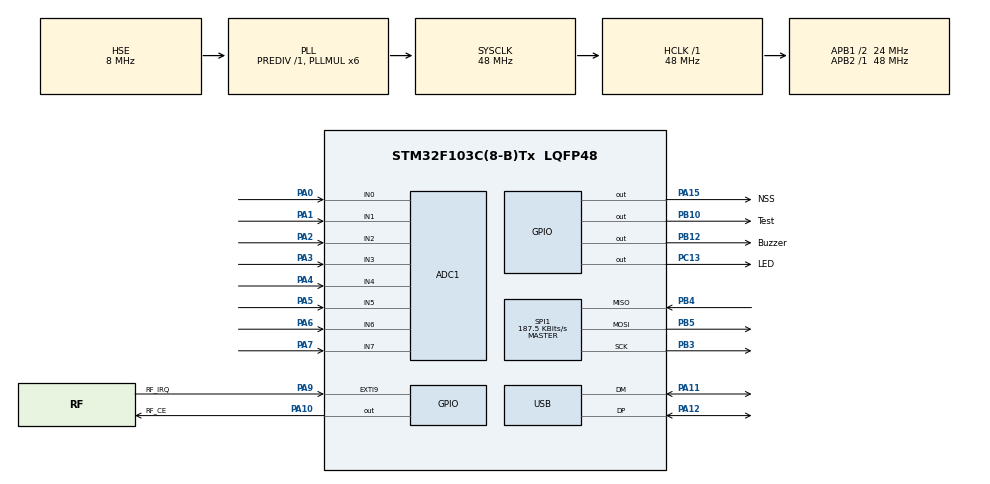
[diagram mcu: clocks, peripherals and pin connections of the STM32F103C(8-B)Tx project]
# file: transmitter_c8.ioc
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ADC1.Channel-0\#ChannelRegularConversion=ADC_CHANNEL_0
ADC1.Channel-1\#ChannelRegularConversion=ADC_CHANNEL_1
ADC1.Channel-2\#ChannelRegularConversion=ADC_CHANNEL_2
ADC1.Channel-3\#ChannelRegularConversion=ADC_CHANNEL_3
ADC1.Channel-4\#ChannelRegularConversion=ADC_CHANNEL_4
ADC1.Channel-5\#ChannelRegularConversion=ADC_CHANNEL_5
ADC1.Channel-6\#ChannelRegularConversion=ADC_CHANNEL_6
ADC1.Channel-7\#ChannelRegularConversion=ADC_CHANNEL_7
ADC1.DiscontinuousConvMode=ENABLE
ADC1.ExternalTrigConv=ADC_EXTERNALTRIGCONV_T3_TRGO
ADC1.NbrOfConversion=8
ADC1.NbrOfConversionFlag=1
ADC1.NbrOfDiscConversion=8
ADC1.Rank-0\#ChannelRegularConversion=1
ADC1.Rank-1\#ChannelRegularConversion=2
ADC1.Rank-2\#ChannelRegularConversion=3
ADC1.Rank-3\#ChannelRegularConversion=4
ADC1.Rank-4\#ChannelRegularConversion=5
ADC1.Rank-5\#ChannelRegularConversion=6
ADC1.Rank-6\#ChannelRegularConversion=7
ADC1.Rank-7\#ChannelRegularConversion=8
ADC1.SamplingTime-0\#ChannelRegularConversion=ADC_SAMPLETIME_1CYCLE_5
ADC1.SamplingTime-1\#ChannelRegularConversion=ADC_SAMPLETIME_1CYCLE_5
ADC1.SamplingTime-2\#ChannelRegularConversion=ADC_SAMPLETIME_1CYCLE_5
ADC1.SamplingTime-3\#ChannelRegularConversion=ADC_SAMPLETIME_1CYCLE_5
ADC1.SamplingTime-4\#ChannelRegularConversion=ADC_SAMPLETIME_1CYCLE_5
ADC1.SamplingTime-5\#ChannelRegularConversion=ADC_SAMPLETIME_1CYCLE_5
ADC1.SamplingTime-6\#ChannelRegularConversion=ADC_SAMPLETIME_1CYCLE_5
ADC1.SamplingTime-7\#ChannelRegularConversion=ADC_SAMPLETIME_1CYCLE_5
ADC1.master=1
Dma.ADC1.0.Direction=DMA_PERIPH_TO_MEMORY
Dma.ADC1.0.Instance=DMA1_Channel1
Dma.ADC1.0.MemDataAlignment=DMA_MDATAALIGN_HALFWORD
Dma.ADC1.0.MemInc=DMA_MINC_ENABLE
Dma.ADC1.0.Mode=DMA_CIRCULAR
Dma.ADC1.0.PeriphDataAlignment=DMA_PDATAALIGN_HALFWORD
Dma.ADC1.0.PeriphInc=DMA_PINC_DISABLE
Dma.ADC1.0.Priority=DMA_PRIORITY_LOW
Dma.Request0=ADC1
Mcu.Family=STM32F1
Mcu.Name=STM32F103C(8-B)Tx
Mcu.Package=LQFP48
NVIC.DMA1_Channel1_IRQn=true\:0\:0\:false\:false\:true\:false\:true\:true
NVIC.EXTI9_5_IRQn=true\:0\:0\:false\:false\:true\:true\:true\:true
NVIC.PriorityGroup=NVIC_PRIORITYGROUP_4
NVIC.TIM4_IRQn=true\:0\:0\:false\:false\:true\:true\:true\:true
NVIC.USB_LP_CAN1_RX0_IRQn=true\:0\:0\:false\:false\:true\:false\:true\:true
PA0-WKUP.Signal=ADCx_IN0
PA1.Signal=ADCx_IN1
PA10.GPIO_Label=RF_CE
PA10.Signal=GPIO_Output
PA11.Mode=Device
PA11.Signal=USB_DM
PA12.Mode=Device
PA12.Signal=USB_DP
PA13.Mode=Serial_Wire
PA13.Signal=SYS_JTMS-SWDIO
PA14.Mode=Serial_Wire
PA14.Signal=SYS_JTCK-SWCLK
PA15.GPIO_Label=NSS
PA15.PinState=GPIO_PIN_SET
PA15.Signal=GPIO_Output
PA2.Signal=ADCx_IN2
PA3.Signal=ADCx_IN3
PA4.Signal=ADCx_IN4
PA5.Signal=ADCx_IN5
PA6.Signal=ADCx_IN6
PA7.Signal=ADCx_IN7
PA9.GPIO_Label=RF_IRQ
PA9.GPIO_ModeDefaultEXTI=GPIO_MODE_IT_FALLING
PA9.Signal=GPXTI9
PB10.GPIO_Label=Test
PB10.Signal=GPIO_Output
PB12.GPIO_Label=Buzzer
PB12.Signal=GPIO_Output
PB3.Mode=Full_Duplex_Master
PB3.Signal=SPI1_SCK
PB4.Mode=Full_Duplex_Master
PB4.Signal=SPI1_MISO
PB5.Mode=Full_Duplex_Master
PB5.Signal=SPI1_MOSI
PC13-TAMPER-RTC.GPIO_Label=LED
PC13-TAMPER-RTC.Signal=GPIO_Output
PC14-OSC32_IN.Mode=LSE-External-Oscillator
PC14-OSC32_IN.Signal=RCC_OSC32_IN
PC15-OSC32_OUT.Mode=LSE-External-Oscillator
PC15-OSC32_OUT.Signal=RCC_OSC32_OUT
PD0-OSC_IN.Mode=HSE-External-Oscillator
PD0-OSC_IN.Signal=RCC_OSC_IN
PD1-OSC_OUT.Mode=HSE-External-Oscillator
PD1-OSC_OUT.Signal=RCC_OSC_OUT
ProjectManager.HeapSize=0x200
ProjectManager.StackSize=0x400
ProjectManager.TargetToolchain=STM32CubeIDE
RCC.ADCPresc=RCC_ADCPCLK2_DIV4
RCC.AHBFreq_Value=48000000
RCC.APB1CLKDivider=RCC_HCLK_DIV2
RCC.APB1Freq_Value=24000000
RCC.APB1TimFreq_Value=48000000
RCC.APB2Freq_Value=48000000
RCC.APB2TimFreq_Value=48000000
RCC.HCLKFreq_Value=48000000
RCC.PLLMUL=RCC_PLL_MUL6
RCC.PLLSourceVirtual=RCC_PLLSOURCE_HSE
RCC.SYSCLKFreq_VALUE=48000000
RCC.SYSCLKSource=RCC_SYSCLKSOURCE_PLLCLK
RCC.USBFreq_Value=48000000
SH.ADCx_IN0.0=ADC1_IN0,IN0
SH.ADCx_IN1.0=ADC1_IN1,IN1
SH.ADCx_IN2.0=ADC1_IN2,IN2
SH.ADCx_IN3.0=ADC1_IN3,IN3
SH.ADCx_IN4.0=ADC1_IN4,IN4
SH.ADCx_IN5.0=ADC1_IN5,IN5
SH.ADCx_IN6.0=ADC1_IN6,IN6
SH.ADCx_IN7.0=ADC1_IN7,IN7
SPI1.BaudRatePrescaler=SPI_BAUDRATEPRESCALER_256
SPI1.CalculateBaudRate=187.5 KBits/s
SPI1.Direction=SPI_DIRECTION_2LINES
SPI1.Mode=SPI_MODE_MASTER
SPI1.VirtualType=VM_MASTER
TIM3.Channel-PWM\ Generation1\ No\ Output=TIM_CHANNEL_1
TIM3.ClockDivision=TIM_CLOCKDIVISION_DIV1
TIM3.Period=50000 - 1
TIM3.Prescaler=47
TIM3.Pulse-PWM\ Generation1\ No\ Output=500
TIM3.TIM_MasterOutputTrigger=TIM_TRGO_UPDATE
TIM4.Channel-Output\ Compare1\ No\ Output=TIM_CHANNEL_1
TIM4.OCMode_1=TIM_OCMODE_TIMING
TIM4.Period=1000
TIM4.Prescaler=48 - 1
USB_DEVICE.CLASS_NAME_FS=CDC
USB_DEVICE.VirtualMode=Cdc
USB_DEVICE.VirtualModeFS=Cdc_FS
VP_TIM3_VS_no_output1.Mode=PWM Generation1 No Output
VP_TIM4_VS_no_output1.Mode=Output Compare1 No Output
VP_USB_DEVICE_VS_USB_DEVICE_CDC_FS.Mode=CDC_FS
board=custom

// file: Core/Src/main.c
/* USER CODE BEGIN Header */
/**
  ******************************************************************************
  * @file           : main.c
  * @brief          : Main program body
  ******************************************************************************
  * @attention
  *
  * Copyright (c) 2024 STMicroelectronics.
  * All rights reserved.
  *
  * This software is licensed under terms that can be found in the LICENSE file
  * in the root directory of this software component.
  * If no LICENSE file comes with this software, it is provided AS-IS.
  *
  ******************************************************************************
  */
/* USER CODE END Header */
#include "main.h"
#include "adc.h"
#include "dma.h"
#include "spi.h"
#include "tim.h"
#include "usb_device.h"
#include "gpio.h"

/* USER CODE BEGIN Includes */
#include "nrf24l01p.h"
#include "usbd_cdc_if.h"
/* USER CODE END Includes */

/* USER CODE BEGIN PD */
#define ADC_DATA_SIZE	8
#define MAGIC_REMOTE	'R'
#define MAGIC_USB		'U'
/* USER CODE END PD */

/* USER CODE BEGIN PV */
static uint8_t tx_data[NRF24L01P_PAYLOAD_LENGTH] = {0};

static uint16_t adc_data[ADC_DATA_SIZE];

static uint32_t buzzer_count;

static uint16_t adc_battery;

/* USER CODE END PV */

void SystemClock_Config(void);

/* USER CODE BEGIN 0 */
int error_status = 0;

void HAL_GPIO_EXTI_Callback(uint16_t GPIO_Pin)
{
	if(GPIO_Pin == NRF24L01P_IRQ_PIN_NUMBER)
		nrf24l01p_tx_irq();
}

//                       	update event
// when timer 3 timeout ----------------------> ADC 1 start sampling 				DMA Done
//								    configured channels and DMA result to memory ------------>   IRQ handler

void HAL_ADC_ConvCpltCallback(ADC_HandleTypeDef *hadc)
{
	HAL_GPIO_TogglePin(GPIOB, GPIO_PIN_10);

	tx_data[0] = MAGIC_REMOTE;
	for (int i = 1; i <= 16; i ++)
	{
		tx_data[i] = ((uint8_t *)adc_data)[i - 1];
	}
	nrf24l01p_tx_transmit((uint8_t *)tx_data);
	adc_battery = adc_data[7];
}

void USB_Rx_Process(uint8_t *Dat, uint32_t Len)
{
	if (Len == NRF24L01P_PAYLOAD_LENGTH)
	{
		tx_data[0] = MAGIC_USB;
		for (int i = 1; i <= 16; i ++)
		{
			tx_data[i] = ((uint8_t *)Dat)[i - 1];
		}
		nrf24l01p_tx_transmit(tx_data);
	}
}

void HAL_TIM_PeriodElapsedCallback(TIM_HandleTypeDef *htim)
{
	if (htim == &htim4)
	{
		if (buzzer_count > 0)
		{
			buzzer_count --;
			HAL_GPIO_TogglePin(GPIOB, GPIO_PIN_12);
		}
	}
}

void buzz(int milliseconds)
{
	// 500HZ --> 2ms
	// use toggle to control GPIO pin, should multiply 2

	buzzer_count = milliseconds;
}

// calculate battery voltage
double get_battery_voltage()
{
	// calculate voltage in voltage divider circuit
	double dvoltage = adc_battery * 3.3 / 4095;

	// 20k 9.1k
	return (20 + 9.1) / 9.1 * dvoltage;

}
/* USER CODE END 0 */

int main(void)
{

  /* MCU Configuration--------------------------------------------------------*/

  /* Reset of all peripherals, Initializes the Flash interface and the Systick. */
  HAL_Init();

  /* Configure the system clock */
  SystemClock_Config();

  /* Initialize all configured peripherals */
  MX_GPIO_Init();
  MX_DMA_Init();
  MX_SPI1_Init();
  MX_USB_DEVICE_Init();
  MX_ADC1_Init();
  MX_TIM3_Init();
  MX_TIM4_Init();
  /* USER CODE BEGIN 2 */
  nrf24l01p_tx_init(2500, _250kbps);

  int ret = HAL_ADC_Start_DMA(&hadc1, (uint32_t *)adc_data, ADC_DATA_SIZE);
  if (ret != HAL_OK)
  {
	error_status = 4;
  }

  HAL_TIM_Base_Start(&htim3);

  HAL_TIM_Base_Start_IT(&htim4);

  buzz(500);

  /* USER CODE END 2 */

  /* Infinite loop */
  /* USER CODE BEGIN WHILE */
  double battery_voltage;
  while (1)
  {
    /* USER CODE END WHILE */

    /* USER CODE BEGIN 3 */
	/*for(int i= 0; i < 8; i++)
		  tx_data[i]++;

	  // transmit
	  nrf24l01p_tx_transmit(tx_data);
	  HAL_Delay(1000);*/

	battery_voltage = get_battery_voltage();
	if (battery_voltage < 6.6)
	{
		buzz(200);
	}

	HAL_Delay(1000);
  }
  /* USER CODE END 3 */
}

void SystemClock_Config(void)
{
  RCC_OscInitTypeDef RCC_OscInitStruct = {0};
  RCC_ClkInitTypeDef RCC_ClkInitStruct = {0};
  RCC_PeriphCLKInitTypeDef PeriphClkInit = {0};

  /** Initializes the RCC Oscillators according to the specified parameters
  * in the RCC_OscInitTypeDef structure.
  */
  RCC_OscInitStruct.OscillatorType = RCC_OSCILLATORTYPE_HSE;
  RCC_OscInitStruct.HSEState = RCC_HSE_ON;
  RCC_OscInitStruct.HSEPredivValue = RCC_HSE_PREDIV_DIV1;
  RCC_OscInitStruct.HSIState = RCC_HSI_ON;
  RCC_OscInitStruct.PLL.PLLState = RCC_PLL_ON;
  RCC_OscInitStruct.PLL.PLLSource = RCC_PLLSOURCE_HSE;
  RCC_OscInitStruct.PLL.PLLMUL = RCC_PLL_MUL6;
  if (HAL_RCC_OscConfig(&RCC_OscInitStruct) != HAL_OK)
  {
    Error_Handler();
  }

  /** Initializes the CPU, AHB and APB buses clocks
  */
  RCC_ClkInitStruct.ClockType = RCC_CLOCKTYPE_HCLK|RCC_CLOCKTYPE_SYSCLK
                              |RCC_CLOCKTYPE_PCLK1|RCC_CLOCKTYPE_PCLK2;
  RCC_ClkInitStruct.SYSCLKSource = RCC_SYSCLKSOURCE_PLLCLK;
  RCC_ClkInitStruct.AHBCLKDivider = RCC_SYSCLK_DIV1;
  RCC_ClkInitStruct.APB1CLKDivider = RCC_HCLK_DIV2;
  RCC_ClkInitStruct.APB2CLKDivider = RCC_HCLK_DIV1;

  if (HAL_RCC_ClockConfig(&RCC_ClkInitStruct, FLASH_LATENCY_1) != HAL_OK)
  {
    Error_Handler();
  }
  PeriphClkInit.PeriphClockSelection = RCC_PERIPHCLK_ADC|RCC_PERIPHCLK_USB;
  PeriphClkInit.AdcClockSelection = RCC_ADCPCLK2_DIV4;
  PeriphClkInit.UsbClockSelection = RCC_USBCLKSOURCE_PLL;
  if (HAL_RCCEx_PeriphCLKConfig(&PeriphClkInit) != HAL_OK)
  {
    Error_Handler();
  }
}

void Error_Handler(void)
{
  __disable_irq();
  while (1)
  {
  }
}
